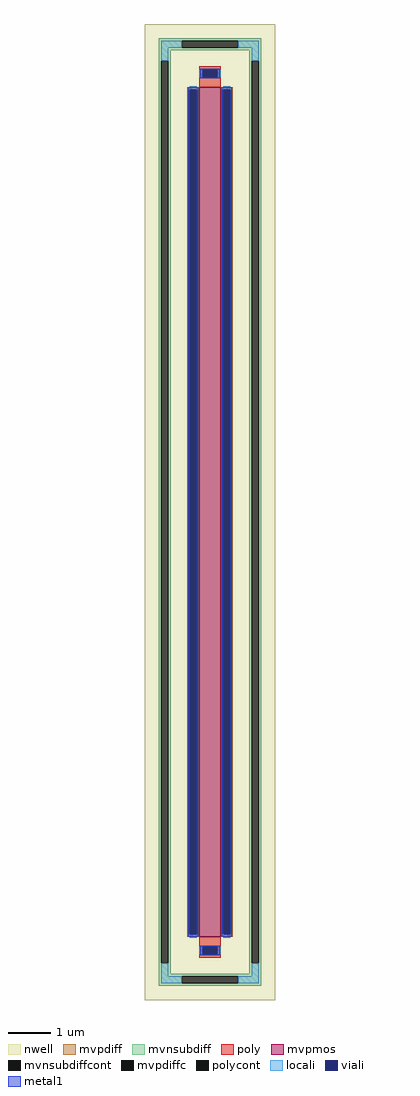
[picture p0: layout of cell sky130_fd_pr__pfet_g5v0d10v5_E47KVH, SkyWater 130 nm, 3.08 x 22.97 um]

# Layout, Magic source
magic
tech sky130A
magscale 1 2
<< nwell >>
rect -308 -2297 308 2297
<< mvpmos >>
rect -50 -2000 50 2000
<< mvpdiff >>
rect -108 1988 -50 2000
rect -108 -1988 -96 1988
rect -62 -1988 -50 1988
rect -108 -2000 -50 -1988
rect 50 1988 108 2000
rect 50 -1988 62 1988
rect 96 -1988 108 1988
rect 50 -2000 108 -1988
<< mvpdiffc >>
rect -96 -1988 -62 1988
rect 62 -1988 96 1988
<< mvnsubdiff >>
rect -242 2219 242 2231
rect -242 2185 -134 2219
rect 134 2185 242 2219
rect -242 2173 242 2185
rect -242 2123 -184 2173
rect -242 -2123 -230 2123
rect -196 -2123 -184 2123
rect 184 2123 242 2173
rect -242 -2173 -184 -2123
rect 184 -2123 196 2123
rect 230 -2123 242 2123
rect 184 -2173 242 -2123
rect -242 -2185 242 -2173
rect -242 -2219 -134 -2185
rect 134 -2219 242 -2185
rect -242 -2231 242 -2219
<< mvnsubdiffcont >>
rect -134 2185 134 2219
rect -230 -2123 -196 2123
rect 196 -2123 230 2123
rect -134 -2219 134 -2185
<< poly >>
rect -50 2081 50 2097
rect -50 2047 -34 2081
rect 34 2047 50 2081
rect -50 2000 50 2047
rect -50 -2047 50 -2000
rect -50 -2081 -34 -2047
rect 34 -2081 50 -2047
rect -50 -2097 50 -2081
<< polycont >>
rect -34 2047 34 2081
rect -34 -2081 34 -2047
<< locali >>
rect -230 2185 -134 2219
rect 134 2185 230 2219
rect -230 2123 -196 2185
rect 196 2123 230 2185
rect -50 2047 -34 2081
rect 34 2047 50 2081
rect -96 1988 -62 2004
rect -96 -2004 -62 -1988
rect 62 1988 96 2004
rect 62 -2004 96 -1988
rect -50 -2081 -34 -2047
rect 34 -2081 50 -2047
rect -230 -2185 -196 -2123
rect 196 -2185 230 -2123
rect -230 -2219 -134 -2185
rect 134 -2219 230 -2185
<< viali >>
rect -34 2047 34 2081
rect -96 -1988 -62 1988
rect 62 -1988 96 1988
rect -34 -2081 34 -2047
<< metal1 >>
rect -46 2081 46 2087
rect -46 2047 -34 2081
rect 34 2047 46 2081
rect -46 2041 46 2047
rect -102 1988 -56 2000
rect -102 -1988 -96 1988
rect -62 -1988 -56 1988
rect -102 -2000 -56 -1988
rect 56 1988 102 2000
rect 56 -1988 62 1988
rect 96 -1988 102 1988
rect 56 -2000 102 -1988
rect -46 -2047 46 -2041
rect -46 -2081 -34 -2047
rect 34 -2081 46 -2047
rect -46 -2087 46 -2081
<< properties >>
string FIXED_BBOX -213 -2202 213 2202
string gencell sky130_fd_pr__pfet_g5v0d10v5
string library sky130
string parameters w 20.0 l 0.5 m 1 nf 1 diffcov 100 polycov 100 guard 1 glc 1 grc 1 gtc 1 gbc 1 tbcov 100 rlcov 100 topc 1 botc 1 poverlap 0 doverlap 1 lmin 0.50 wmin 0.42 compatible {sky130_fd_pr__pfet_01v8  sky130_fd_pr__pfet_01v8_lvt sky130_fd_pr__pfet_01v8_hvt  sky130_fd_pr__pfet_g5v0d10v5} full_metal 1 viasrc 100 viadrn 100 viagate 100 viagb 0 viagr 0 viagl 0 viagt 0
<< end >>
